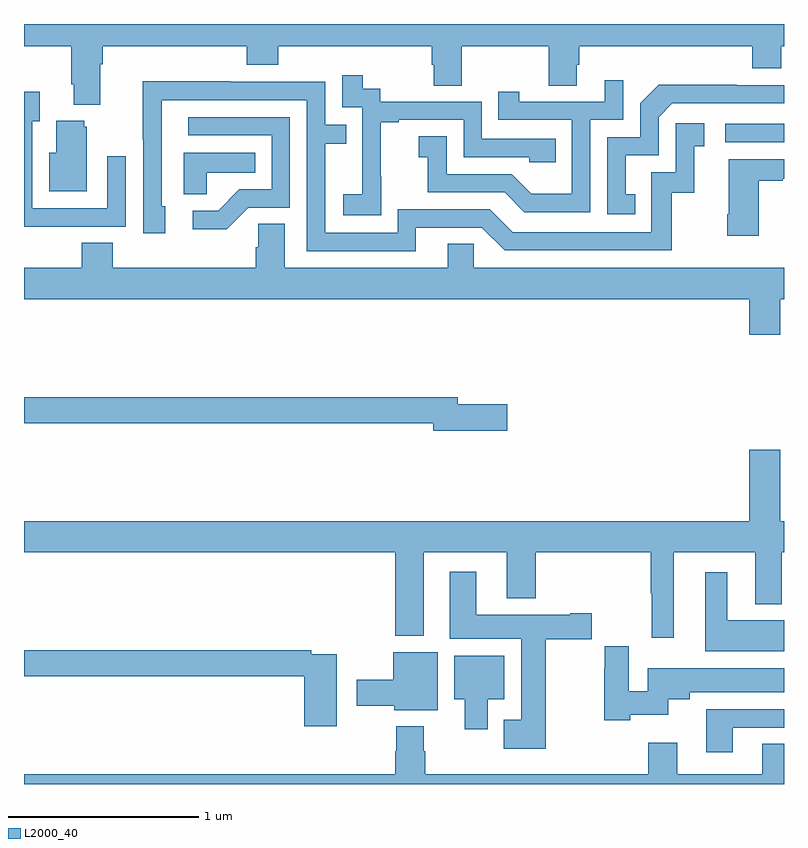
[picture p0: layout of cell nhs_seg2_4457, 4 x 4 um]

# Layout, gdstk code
import gdstk
lib = gdstk.Library(unit=1e-6, precision=1e-09)
def R(c, l, rs):  # rectangles x0, y0, x1, y1
    for r in rs: c.add(gdstk.rectangle(r[:2], r[2:], *l))
def P(c, l, *ps):  # polygons
    for p in ps: c.add(gdstk.Polygon(p, *l))
L2000_40 = (2000, 40)

nhs_seg2_4457 = lib.new_cell('nhs_seg2_4457')
R(nhs_seg2_4457, L2000_40, [(356.691,599.178,357,599.274)])
P(nhs_seg2_4457, L2000_40, [(353.401,599.588),(353.414,599.588),(353.414,599.684),(354.173,599.684),(354.173,599.585),(354.338,599.585),(354.338,599.684),(355.145,599.684),(355.145,599.586),(355.157,599.586),(355.157,599.476),(355.305,599.476),(355.305,599.684),(355.762,599.684),(355.762,599.476),(355.909,599.476),(355.909,599.586),(355.922,599.586),(355.922,599.684),(356.834,599.684),(356.834,599.567),(356.986,599.567),(356.986,599.684),(357,599.684),(357,599.8),(353,599.8),(353,599.684),(353.249,599.684),(353.249,599.482),(353.261,599.482),(353.261,599.375),(353.401,599.375)],
  [(354.879,598.999),(354.878,598.999),(354.878,599.283),(354.973,599.283),(354.973,599.295),(355.314,599.295),(355.314,599.1),(355.659,599.1),(355.659,599.073),(355.799,599.073),(355.799,599.196),(355.41,599.196),(355.41,599.391),(354.876,599.391),(354.876,599.46),(354.784,599.46),(354.784,599.53),(354.675,599.53),(354.675,599.361),(354.78,599.361),(354.78,599.132),(354.779,599.132),(354.779,598.903),(354.681,598.903),(354.681,598.793),(354.879,598.793)],
  [(355.98,599.295),(356.154,599.295),(356.154,599.503),(356.057,599.503),(356.057,599.391),(355.606,599.391),(355.606,599.443),(355.495,599.443),(355.495,599.295),(355.884,599.295),(355.884,598.906),(355.67,598.906),(355.566,599.01),(355.224,599.01),(355.224,599.209),(355.077,599.209),(355.077,599.099),(355.126,599.099),(355.126,598.914),(355.529,598.914),(355.634,598.809),(355.98,598.809)],
  [(355.063,598.728),(355.41,598.728),(355.53,598.608),(356.41,598.608),(356.41,598.911),(356.528,598.911),(356.528,599.157),(356.581,599.157),(356.581,599.278),(356.43,599.278),(356.43,599.019),(356.301,599.019),(356.301,598.704),(355.572,598.704),(355.452,598.824),(354.966,598.824),(354.966,598.701),(354.585,598.701),(354.585,599.17),(354.695,599.17),(354.695,599.271),(354.585,599.271),(354.585,599.496),(354.089,599.496),(354.089,599.498),(353.626,599.498),(353.626,599.191),(353.628,599.191),(353.628,598.698),(353.743,598.698),(353.743,598.842),(353.724,598.842),(353.724,599.4),(354.489,599.4),(354.489,598.605),(355.063,598.605)],
  [(356.216,598.905),(356.167,598.905),(356.167,599.109),(356.34,599.109),(356.34,599.31),(356.412,599.382),(357,599.382),(357,599.478),(356.75,599.478),(356.75,599.48),(356.342,599.48),(356.244,599.382),(356.244,599.205),(356.07,599.205),(356.07,598.8),(356.216,598.8)],
  [(353.219,598.734),(353.535,598.734),(353.535,599.104),(353.439,599.104),(353.439,598.83),(353.043,598.83),(353.043,599.287),(353.083,599.287),(353.083,599.443),(353,599.443),(353,598.733),(353.219,598.733)],
  [(354.18,598.833),(354.399,598.833),(354.399,599.31),(353.865,599.31),(353.865,599.214),(354.303,599.214),(354.303,598.929),(354.134,598.929),(354.023,598.818),(353.889,598.818),(353.889,598.721),(354.067,598.721)],
  [(353.329,599.259),(353.318,599.259),(353.318,599.29),(353.171,599.29),(353.171,599.122),(353.132,599.122),(353.132,598.919),(353.329,598.919)],
  [(353.961,599.018),(354.218,599.018),(354.218,599.122),(353.84,599.122),(353.84,598.903),(353.961,598.903)],
  [(356.866,598.975),(356.993,598.975),(356.993,598.985),(357,598.985),(357,599.089),(356.708,599.089),(356.708,598.798),(356.701,598.798),(356.701,598.686),(356.866,598.686)],
  [(356.98,598.352),(357,598.352),(357,598.516),(355.368,598.516),(355.368,598.643),(355.229,598.643),(355.229,598.516),(354.373,598.516),(354.373,598.748),(354.234,598.748),(354.234,598.625),(354.221,598.625),(354.221,598.516),(353.468,598.516),(353.468,598.649),(353.303,598.649),(353.303,598.516),(353,598.516),(353,598.352),(356.816,598.352),(356.816,598.164),(356.98,598.164)],
  [(355.543,597.8),(355.282,597.8),(355.282,597.836),(353,597.836),(353,597.7),(355.154,597.7),(355.154,597.658),(355.543,597.658)],
  [(353,597.02),(354.953,597.02),(354.953,596.579),(355.105,596.579),(355.105,597.02),(355.541,597.02),(355.541,596.777),(355.694,596.777),(355.694,597.02),(356.298,597.02),(356.298,596.804),(356.305,596.804),(356.305,596.571),(356.419,596.571),(356.419,597.02),(356.849,597.02),(356.849,596.747),(356.989,596.747),(356.989,597.02),(357,597.02),(357,597.184),(356.98,597.184),(356.98,597.559),(356.816,597.559),(356.816,597.184),(353,597.184)],
  [(355.746,596.563),(355.987,596.563),(355.987,596.7),(355.874,596.7),(355.874,596.692),(355.381,596.692),(355.381,596.917),(355.241,596.917),(355.241,596.564),(355.616,596.564),(355.616,596.137),(355.526,596.137),(355.526,595.985),(355.746,595.985)],
  [(357,596.662),(356.701,596.662),(356.701,596.914),(356.585,596.914),(356.585,596.498),(357,596.498)],
  [(356.19,596.165),(356.392,596.165),(356.392,596.246),(356.503,596.246),(356.503,596.282),(357,596.282),(357,596.41),(356.282,596.41),(356.282,596.288),(356.182,596.288),(356.182,596.524),(356.057,596.524),(356.057,596.411),(356.053,596.411),(356.053,596.135),(356.19,596.135)],
  [(354.646,596.484),(354.512,596.484),(354.512,596.504),(353,596.504),(353,596.368),(354.476,596.368),(354.476,596.103),(354.646,596.103)],
  [(355.177,596.494),(354.944,596.494),(354.944,596.348),(354.75,596.348),(354.75,596.213),(354.948,596.213),(354.948,596.189),(355.177,596.189)],
  [(355.441,596.246),(355.528,596.246),(355.528,596.476),(355.265,596.476),(355.265,596.246),(355.319,596.246),(355.319,596.088),(355.441,596.088)],
  [(356.731,596.097),(357,596.097),(357,596.193),(356.591,596.193),(356.591,595.968),(356.731,595.968)],
  [(357,596.012),(356.885,596.012),(356.885,595.852),(356.437,595.852),(356.437,596.017),(356.285,596.017),(356.285,595.852),(355.113,595.852),(355.113,595.973),(355.105,595.973),(355.105,596.104),(354.958,596.104),(354.958,595.973),(354.953,595.973),(354.953,595.852),(353,595.852),(353,595.8),(357,595.8)])

lib.write_gds('nhs_seg2_4457.gds')
